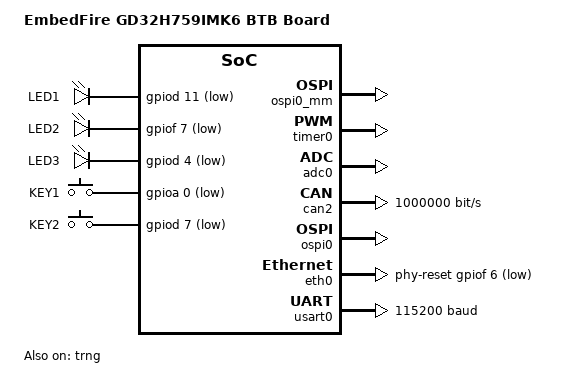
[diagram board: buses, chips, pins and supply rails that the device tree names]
/dts-v1/;

#include <gd/gd32h7xx/gd32h759xx.dtsi>
#include "gd32h759_btb-pinctrl.dtsi"
#include <zephyr/dt-bindings/input/input-event-codes.h>
#include <zephyr/dt-bindings/memory-attr/memory-attr.h>
#include <zephyr/dt-bindings/memory-attr/memory-attr-arm.h>

/ {
	model = "EmbedFire GD32H759IMK6 BTB Board";
	compatible = "embedfire,gd32h759-btb";

	chosen {
		zephyr,sram = &sram0;
		zephyr,flash = &flash0;
		zephyr,console = &usart0;
		zephyr,shell-uart = &usart0;
		zephyr,flash-controller = &fmc;
		zephyr,entropy = &trng;
	};

	leds {
		compatible = "gpio-leds";

		led1: led1 {
			gpios = <&gpiod 11 GPIO_ACTIVE_LOW>;
			label = "LED1";
		};

		led2: led2 {
			gpios = <&gpiof 7 GPIO_ACTIVE_LOW>;
			label = "LED2";
		};

		led3: led3 {
			gpios = <&gpiod 4 GPIO_ACTIVE_LOW>;
			label = "LED3";
		};
	};

	gpio_keys {
		compatible = "gpio-keys";

		key1: key_1 {
			label = "KEY1";
			gpios = <&gpioa 0 GPIO_ACTIVE_LOW>;
			zephyr,code = <INPUT_KEY_0>;
		};

		key2: key_2 {
			label = "KEY2";
			gpios = <&gpiod 7 GPIO_ACTIVE_LOW>;
			zephyr,code = <INPUT_KEY_1>;
		};
	};

	aliases {
		led0 = &led1;
		swi0 = &led2;
	};
};

&gpioa {
	status = "okay";
};

&gpiob {
	status = "okay";
};

&gpioc {
	status = "okay";
};

&gpiod {
	status = "okay";
};

&gpioe {
	status = "okay";
};

&gpiof {
	status = "okay";
};

&gpiog {
	status = "okay";
};

&gpioh {
	status = "okay";
};

&dma0 {
	status = "okay";
};

&timer0 {
	/* TIMER0 is 16-bit: run the counter at CK_AHB/2/300 = 1MHz so that
	 * typical periods (up to ~65ms) fit in the counter. */
	prescaler = <299>;
	status = "okay";

	pwm {
		status = "okay";
		pinctrl-0 = <&timer0_default>;
		pinctrl-names = "default";
	};
};

&adc0 {
	status = "okay";
};

&can2 {
	status = "okay";
	pinctrl-0 = <&can2_default>;
	pinctrl-names = "default";
	bitrate = <1000000>;
	bitrate-data = <5000000>;

	/* SIT1042AQT CAN transceiver on J8 (R37 120-ohm jumper optional) */
	can-transceiver {
		max-bitrate = <5000000>;
	};
};

/* on-board GD25Q64ESIGR NOR flash (U7, 8MB) on OSPI0 port 0 */
&ospi0 {
	status = "okay";
	pinctrl-0 = <&ospi0_default>;
	pinctrl-names = "default";
	size = <0x800000>;
	jedec-id = [c8 40 17];
};

/* LAN8720A RMII PHY (U3, 10/100M).  The 50MHz reference clock comes from
 * CK_OUT0 (PA8) into the PHY CLKIN, REF_CLK returns on PA1; PF6 resets
 * the PHY (10K pullup, active low). */
&eth0 {
	status = "okay";
	pinctrl-0 = <&eth0_default>;
	pinctrl-names = "default";
	local-mac-address = [02 0e 1f 75 90 01];
	phy-reset-gpios = <&gpiof 6 GPIO_ACTIVE_LOW>;
};

&trng {
	status = "okay";
};

/ {
	reserved-memory {
		#address-cells = <1>;
		#size-cells = <1>;

		/* OSPI0 memory-mapped read window (quad fast read): direct
		 * pointer reads only, erase/program stay indirect. Kept
		 * non-cacheable: the OSPI AHB slave hangs on the D-cache
		 * line-fill (wrapping burst) reads a cacheable attribute
		 * would generate. */
		ospi0_mm: ospi0-mm@90000000 {
			compatible = "zephyr,memory-region";
			reg = <0x90000000 0x800000>;
			zephyr,memory-region = "OSPI0_MM";
			zephyr,memory-attr = <(DT_MEM_ARM(ATTR_MPU_RAM_NOCACHE) | DT_MEM_NON_VOLATILE)>;
		};
	};
};

&usart0 {
	status = "okay";
	current-speed = <115200>;
	pinctrl-0 = <&usart0_default>;
	pinctrl-names = "default";
};
